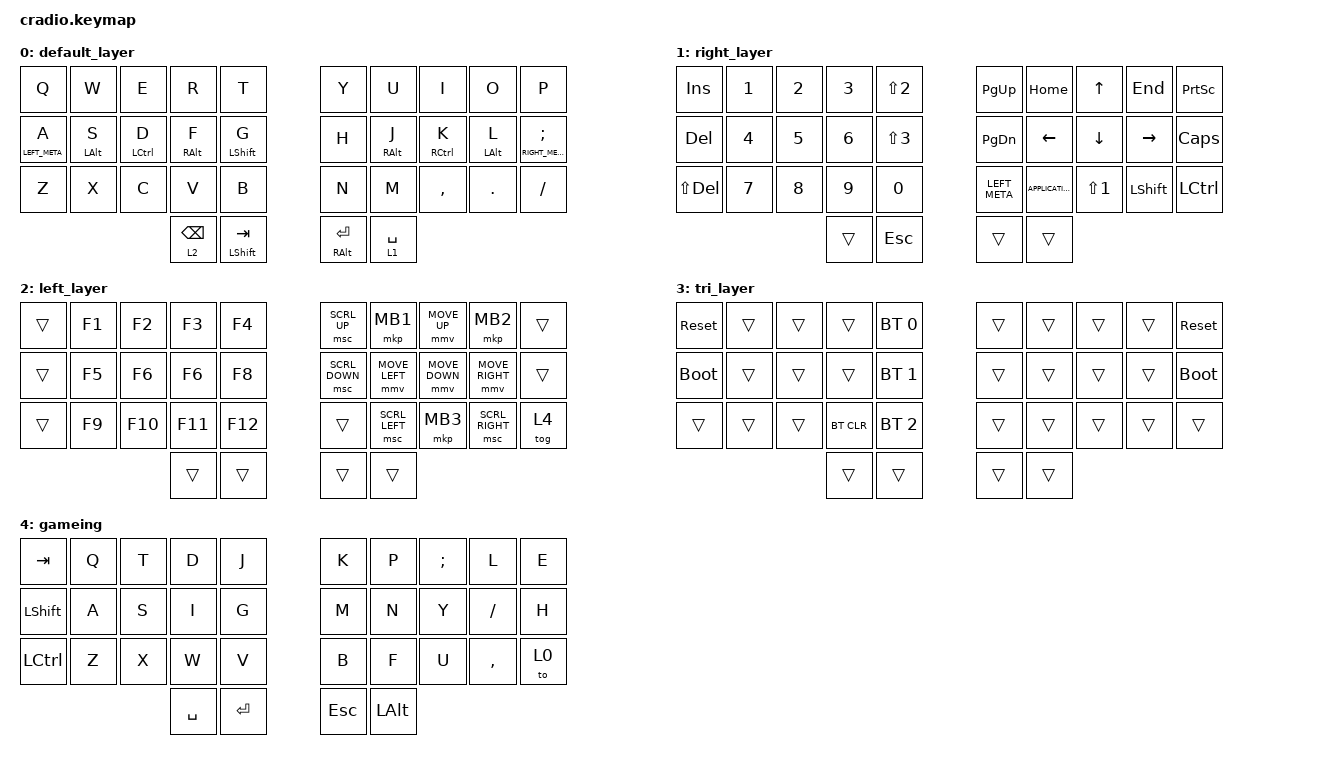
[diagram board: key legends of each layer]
// Copyright (c) 2022 The ZMK Contributors
// SPDX-License-Identifier: MIT

#include <behaviors.dtsi>
#include <dt-bindings/zmk/bt.h>
#include <dt-bindings/zmk/keys.h>
#include <dt-bindings/zmk/pointing.h>

/ {
    behaviors {
        ht: hold_tap {
            compatible = "zmk,behavior-hold-tap";
            #binding-cells = <2>;
            flavor = "tap-preferred";
            tapping-term-ms = <220>;
            quick-tap-ms = <150>;
            require-prior-idle-ms = <100>;
            bindings = <&kp>, <&kp>;
        };

        HRM: HRM {
            compatible = "zmk,behavior-hold-tap";
            label = "HRM";
            bindings = <&kp>, <&kp>;

            #binding-cells = <2>;
            tapping-term-ms = <200>;
            flavor = "tap-preferred";
        };
    };

    conditional_layers {
        compatible = "zmk,conditional-layers";

        tri_layer {
            if-layers = <1 2>;
            then-layer = <3>;
        };
    };

    combos {
        compatible = "zmk,combos";

        esc {
            bindings = <&kp ESCAPE>;
            key-positions = <10 11 12>;
        };
    };

    keymap {
        compatible = "zmk,keymap";

        default_layer {
            bindings = <
&kp Q             &kp W            &kp E                &kp R             &kp T                 &kp Y                 &kp U             &kp I                 &kp O            &kp P
&HRM LEFT_META A  &HRM LEFT_ALT S  &HRM LEFT_CONTROL D  &HRM RIGHT_ALT F  &HRM LEFT_SHIFT G     &kp H                 &HRM RIGHT_ALT J  &HRM RIGHT_CONTROL K  &HRM LEFT_ALT L  &HRM RIGHT_META SEMI
&kp Z             &kp X            &kp C                &kp V             &kp B                 &kp N                 &kp M             &kp COMMA             &kp DOT          &kp FSLH
                                                        &lt 2 BACKSPACE   &mt LEFT_SHIFT TAB    &mt RIGHT_ALT RETURN  &lt 1 SPACE
            >;
        };

        right_layer {
            bindings = <
&kp INS         &kp N1  &kp N2  &kp N3  &kp LS(NUMBER_2)    &kp PAGE_UP    &kp HOME           &kp UP_ARROW      &kp END         &kp PRINTSCREEN
&kp DEL         &kp N4  &kp N5  &kp N6  &kp LS(NUMBER_3)    &kp PAGE_DOWN  &kp LEFT           &kp DOWN_ARROW    &kp RIGHT       &kp CAPSLOCK
&kp LS(DELETE)  &kp N7  &kp N8  &kp N9  &kp N0              &kp LEFT_META  &kp K_APPLICATION  &kp LS(NUMBER_1)  &kp LEFT_SHIFT  &kp LEFT_CONTROL
                                &trans  &kp ESC             &trans         &trans
            >;
        };

        left_layer {
            bindings = <
&trans  &kp F1  &kp F2   &kp F3   &kp F4     &msc SCRL_UP    &mkp MB1        &mmv MOVE_UP    &mkp MB2         &trans
&trans  &kp F5  &kp F6   &kp F6   &kp F8     &msc SCRL_DOWN  &mmv MOVE_LEFT  &mmv MOVE_DOWN  &mmv MOVE_RIGHT  &trans
&trans  &kp F9  &kp F10  &kp F11  &kp F12    &trans          &msc SCRL_LEFT  &mkp MB3        &msc SCRL_RIGHT  &tog 4
                         &trans   &trans     &trans          &trans
            >;
        };

        tri_layer {
            bindings = <
&sys_reset   &trans  &trans  &trans      &bt BT_SEL 0    &trans  &trans  &trans  &trans  &sys_reset
&bootloader  &trans  &trans  &trans      &bt BT_SEL 1    &trans  &trans  &trans  &trans  &bootloader
&trans       &trans  &trans  &bt BT_CLR  &bt BT_SEL 2    &trans  &trans  &trans  &trans  &trans
                             &trans      &trans          &trans  &trans
            >;
        };

        gameing {
            bindings = <
&kp TAB           &kp Q  &kp T  &kp D      &kp J         &kp K       &kp P         &kp SEMI  &kp L      &kp E
&kp LEFT_SHIFT    &kp A  &kp S  &kp I      &kp G         &kp M       &kp N         &kp Y     &kp SLASH  &kp H
&kp LEFT_CONTROL  &kp Z  &kp X  &kp W      &kp V         &kp B       &kp F         &kp U     &kp COMMA  &to 0
                                &kp SPACE  &kp RETURN    &kp ESCAPE  &kp LEFT_ALT
            >;
        };
    };
};
